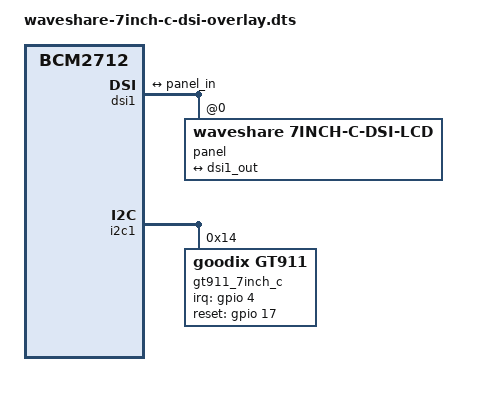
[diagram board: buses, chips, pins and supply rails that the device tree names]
// Raspberry Pi 5 - Waveshare 7" DSI-C Display (1024x600)
// Device Tree Overlay for Waveshare 7" DSI-C
// Copyright (C) 2025 The Android Open Source Project

/dts-v1/;
/plugin/;

/ {
    compatible = "brcm,bcm2712";
    
    fragment@0 {
        target = <&dsi1>;
        __overlay__ {
            status = "okay";
            #address-cells = <1>;
            #size-cells = <0>;
            
            port {
                dsi1_out: endpoint {
                    remote-endpoint = <&panel_in>;
                };
            };
            
            panel: panel@0 {
                compatible = "waveshare,7inch-c-dsi-lcd";
                reg = <0>;
                
                width-mm = <154>;
                height-mm = <86>;
                
                panel-timing {
                    clock-frequency = <50000000>;
                    hactive = <1024>;
                    vactive = <600>;
                    hfront-porch = <100>;
                    hback-porch = <100>;
                    hsync-len = <100>;
                    vfront-porch = <10>;
                    vback-porch = <10>;
                    vsync-len = <2>;
                };
                
                port {
                    panel_in: endpoint {
                        remote-endpoint = <&dsi1_out>;
                    };
                };
            };
        };
    };
    
    fragment@1 {
        target = <&i2c1>;
        __overlay__ {
            status = "okay";
            #address-cells = <1>;
            #size-cells = <0>;
            
            gt911_7inch_c: gt911@14 {
                compatible = "goodix,gt911";
                reg = <0x14>;
                interrupt-parent = <&gpio>;
                interrupts = <4 2>;
                irq-gpios = <&gpio 4 0>;
                reset-gpios = <&gpio 17 0>;
                touchscreen-size-x = <1024>;
                touchscreen-size-y = <600>;
            };
        };
    };
};
